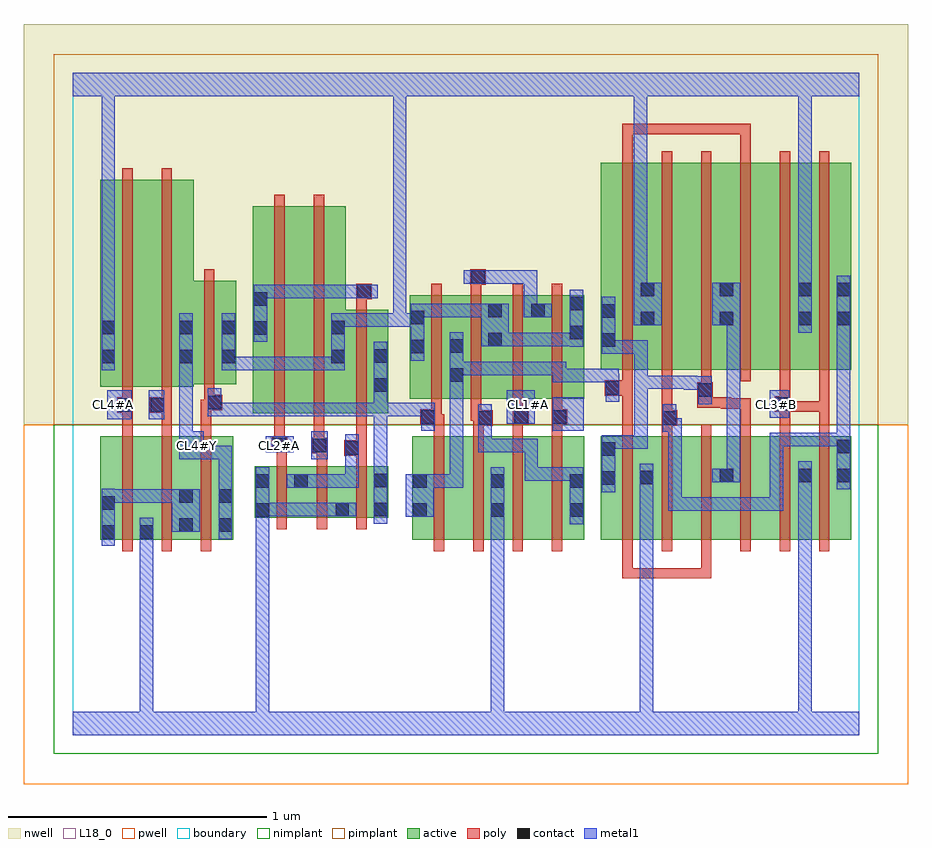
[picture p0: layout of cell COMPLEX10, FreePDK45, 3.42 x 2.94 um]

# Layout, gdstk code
import gdstk
lib = gdstk.Library(unit=1e-6, precision=1e-09)
def R(c, l, rs):  # rectangles x0, y0, x1, y1
    for r in rs: c.add(gdstk.rectangle(r[:2], r[2:], *l))
def A(c, l, x, y, w, h, nx, ny, dx, dy):  # array of equal rectangles
    R(c, l, [(x+i*dx, y+j*dy, x+i*dx+w, y+j*dy+h) for i in range(nx) for j in range(ny)])
active = (1, 0)
pwell = (2, 0)
nwell = (3, 0)
nimplant = (4, 0)
pimplant = (5, 0)
poly = (9, 0)
contact = (10, 0)
metal1 = (11, 0)
L18_0 = (18, 0)
boundary = (235, 0)

complex10 = lib.new_cell('COMPLEX10')
A(complex10, active, 2.192, 1.412, 0.06, 0.632, 3, 1, 0.304, 0)
R(complex10, active, [(0.108,0.756,0.168,1.156), (0.108,0.756,0.316,1.156), (0.256,0.756,0.468,1.156), (0.256,0.756,0.316,0.816), (0.408,0.756,0.468,0.956), (0.408,0.756,0.62,1.156), (0.56,0.756,0.62,1.156), (1.312,0.756,1.372,1.156), (1.312,0.756,1.492,1.156), (1.492,0.756,1.672,1.156), (1.612,0.756,1.796,1.156), (1.612,0.756,1.672,1.09), (1.796,0.756,1.976,1.156), (1.916,0.756,1.976,1.156), (2.04,0.756,2.1,1.156), (2.04,0.756,2.248,1.156), (2.188,0.756,2.372,1.156), (2.188,0.756,2.248,1.026), (2.372,0.756,2.556,1.156), (2.496,0.756,2.676,1.156), (2.496,0.756,2.556,1.034), (2.676,0.756,2.86,1.156), (2.8,0.756,3.008,1.156), (2.8,0.756,2.86,1.044), (2.948,0.756,3.008,1.156), (0.704,0.84,0.764,1.04), (0.704,0.84,0.912,1.04), (0.852,0.84,1.072,1.04), (1.012,0.84,1.22,1.04), (1.012,0.84,1.072,1.034), (1.16,0.84,1.22,1.04), (0.852,0.934,0.912,1.012), (0.696,1.244,0.876,2.044), (0.696,1.244,0.756,2.044), (0.876,1.244,1.056,2.044), (0.996,1.244,1.22,1.644), (1.16,1.244,1.22,1.644), (1.302,1.3,1.514,1.7), (1.302,1.3,1.362,1.69), (1.454,1.3,1.662,1.7), (1.454,1.3,1.514,1.644), (1.602,1.3,1.828,1.7), (1.768,1.3,1.976,1.7), (1.916,1.3,1.976,1.698), (1.602,1.33,1.662,1.674), (1.768,1.33,1.828,1.698), (0.108,1.346,0.288,2.146), (0.108,1.346,0.168,2.044), (0.288,1.346,0.468,2.146), (0.996,1.348,1.056,1.696), (0.408,1.356,0.468,1.746), (0.408,1.356,0.632,1.756), (0.572,1.356,0.632,1.756), (2.04,1.412,2.1,2.044), (2.04,1.412,2.252,2.212), (2.192,1.412,2.372,2.212), (2.372,1.412,2.556,2.212), (2.496,1.412,2.676,2.212), (2.676,1.412,2.86,2.212), (2.8,1.412,3.008,2.212), (2.948,1.412,3.008,2.044)])
R(complex10, pwell, [(-0.188,-0.188,3.228,1.2)])
R(complex10, nwell, [(-0.188,1.2,3.228,2.748)])
R(complex10, nimplant, [(-0.072,-0.072,3.112,1.2)])
R(complex10, pimplant, [(-0.072,1.2,3.112,2.632)])
A(complex10, poly, 0.192, 0.712, 0.04, 0.488, 3, 1, 0.152, 0)
A(complex10, poly, 1.396, 0.712, 0.04, 0.488, 4, 1, 0.152, 0)
A(complex10, poly, 2.124, 0.712, 0.04, 0.488, 6, 1, 0.152, 0)
A(complex10, poly, 2.124, 1.368, 0.04, 0.888, 6, 1, 0.152, 0)
R(complex10, poly, [(2.124,0.606,2.164,0.646), (2.124,0.606,2.164,0.646), (2.124,0.606,2.164,0.646), (2.124,0.606,2.164,0.752), (2.124,0.606,2.348,0.646), (2.308,0.606,2.348,0.646), (2.308,0.606,2.348,0.646), (2.308,0.606,2.348,0.646), (2.308,0.606,2.468,0.646), (2.428,0.606,2.468,0.646), (2.428,0.606,2.468,0.752), (0.788,0.796,0.828,1.084), (0.944,0.796,0.984,1.084), (1.096,0.796,1.136,1.084), (0.788,1.044,0.828,1.134), (0.944,1.044,0.984,1.13), (1.096,1.044,1.136,1.12), (1.05,1.08,1.136,1.14), (0.924,1.09,0.984,1.15), (0.77,1.094,0.83,1.154), (1.096,1.1,1.136,1.14), (1.096,1.1,1.136,1.14), (1.096,1.1,1.136,1.24), (0.932,1.11,0.972,1.15), (0.932,1.11,0.972,1.15), (0.932,1.11,0.972,1.24), (0.78,1.114,0.82,1.154), (0.78,1.114,0.82,1.154), (0.78,1.114,0.82,1.24), (0.192,1.16,0.232,1.286), (0.344,1.16,0.384,1.286), (0.496,1.16,0.536,1.296), (1.396,1.16,1.436,1.24), (1.548,1.16,1.588,1.236), (1.7,1.16,1.74,1.24), (1.852,1.16,1.892,1.24), (2.124,1.16,2.164,1.352), (2.276,1.16,2.316,1.236), (2.58,1.16,2.62,1.302), (2.732,1.16,2.772,1.29), (2.884,1.16,2.924,1.29), (1.548,1.196,1.624,1.256), (2.276,1.196,2.336,1.256), (0.78,1.2,0.82,2.088), (0.932,1.2,0.972,2.088), (1.096,1.2,1.136,1.688), (1.344,1.2,1.426,1.26), (1.386,1.2,1.426,1.24), (1.386,1.2,1.436,1.24), (1.7,1.2,1.74,1.24), (1.7,1.2,1.74,1.24), (1.7,1.2,1.762,1.26), (1.852,1.2,1.912,1.26), (1.538,1.216,1.578,1.296), (1.538,1.216,1.588,1.256), (1.548,1.216,1.588,1.256), (2.276,1.216,2.316,1.256), (2.276,1.216,2.316,1.256), (2.276,1.216,2.316,1.408), (1.386,1.22,1.426,1.296), (1.7,1.22,1.74,1.296), (1.852,1.22,1.892,1.26), (1.852,1.22,1.892,1.26), (1.852,1.22,1.892,1.296), (0.172,1.246,0.232,1.306), (0.298,1.246,0.384,1.306), (2.712,1.25,2.772,1.31), (2.732,1.25,2.772,1.29), (2.732,1.25,2.772,1.29), (2.732,1.25,2.924,1.29), (2.884,1.25,2.924,1.408), (2.884,1.25,2.924,1.29), (2.884,1.25,2.924,1.29), (2.884,1.25,2.924,1.29), (2.884,1.25,2.924,1.29), (2.884,1.25,2.924,1.29), (0.496,1.256,0.548,1.296), (0.508,1.256,0.548,1.296), (0.508,1.256,0.578,1.316), (1.386,1.256,1.426,1.744), (1.538,1.256,1.578,1.744), (1.7,1.256,1.74,1.744), (1.852,1.256,1.892,1.744), (2.504,1.262,2.62,1.302), (2.504,1.262,2.544,1.306), (2.58,1.262,2.62,1.302), (2.58,1.262,2.62,1.302), (2.58,1.262,2.62,1.302), (0.192,1.266,0.232,1.306), (0.192,1.266,0.232,1.306), (0.192,1.266,0.232,1.342), (0.344,1.266,0.384,1.306), (0.344,1.266,0.384,1.306), (0.344,1.266,0.384,1.342), (2.414,1.266,2.474,1.364), (2.434,1.266,2.544,1.306), (2.732,1.27,2.772,1.408), (0.508,1.276,0.548,1.352), (0.192,1.302,0.232,2.19), (0.344,1.302,0.384,2.19), (0.508,1.312,0.548,1.8), (2.056,1.312,2.164,1.372), (2.124,1.312,2.164,1.352), (2.124,1.312,2.164,1.352), (2.428,1.324,2.468,1.408), (2.124,1.332,2.164,1.408), (1.096,1.648,1.136,1.724), (1.096,1.684,1.156,1.744), (1.538,1.704,1.578,1.78), (1.536,1.74,1.596,1.8), (2.124,2.216,2.164,2.362), (2.58,2.216,2.62,2.362), (2.124,2.322,2.164,2.362), (2.124,2.322,2.164,2.362), (2.124,2.322,2.164,2.362), (2.124,2.322,2.348,2.362), (2.308,2.322,2.348,2.362), (2.308,2.322,2.348,2.362), (2.308,2.322,2.348,2.362), (2.308,2.322,2.514,2.362), (2.474,2.322,2.514,2.362), (2.474,2.322,2.62,2.362), (2.58,2.322,2.62,2.362), (2.58,2.322,2.62,2.362), (2.58,2.322,2.62,2.362)])
A(complex10, contact, 2.196, 1.584, 0.052, 0.052, 3, 2, 0.304, 0.112)
R(complex10, contact, [(0.112,0.76,0.164,0.812), (0.26,0.76,0.312,0.812), (0.412,0.786,0.464,0.838), (0.564,0.786,0.616,0.838), (0.708,0.844,0.76,0.896), (1.316,0.844,1.368,0.896), (1.616,0.844,1.668,0.896), (1.92,0.844,1.972,0.896), (1.016,0.846,1.068,0.898), (1.164,0.846,1.216,0.898), (0.112,0.872,0.164,0.924), (0.412,0.898,0.464,0.95), (0.564,0.898,0.616,0.95), (0.708,0.956,0.76,1.008), (0.856,0.956,0.908,1.008), (1.316,0.956,1.368,1.008), (1.616,0.956,1.668,1.008), (1.92,0.956,1.972,1.008), (1.164,0.958,1.216,1.01), (2.044,0.968,2.096,1.02), (2.192,0.97,2.244,1.022), (2.5,0.978,2.552,1.03), (2.804,0.978,2.856,1.03), (2.952,0.978,3.004,1.03), (2.044,1.08,2.096,1.132), (1.054,1.084,1.106,1.136), (2.952,1.09,3.004,1.142), (0.928,1.094,0.98,1.146), (0.774,1.098,0.826,1.15), (1.568,1.2,1.62,1.252), (2.28,1.2,2.332,1.252), (1.348,1.204,1.4,1.256), (1.706,1.204,1.758,1.256), (1.856,1.204,1.908,1.256), (0.176,1.25,0.228,1.302), (0.302,1.25,0.354,1.302), (2.716,1.254,2.768,1.306), (0.522,1.26,0.574,1.312), (2.418,1.308,2.47,1.36), (2.06,1.316,2.112,1.368), (1.164,1.328,1.216,1.38), (1.458,1.366,1.51,1.418), (0.112,1.438,0.164,1.49), (0.412,1.438,0.464,1.49), (0.576,1.438,0.628,1.49), (1,1.438,1.052,1.49), (1.164,1.44,1.216,1.492), (1.306,1.476,1.358,1.528), (1.458,1.478,1.51,1.53), (2.044,1.502,2.096,1.554), (1.606,1.504,1.658,1.556), (1.92,1.53,1.972,1.582), (0.7,1.548,0.752,1.6), (0.112,1.55,0.164,1.602), (0.412,1.55,0.464,1.602), (0.576,1.55,0.628,1.602), (1,1.55,1.052,1.602), (2.952,1.584,3.004,1.636), (1.306,1.588,1.358,1.64), (2.044,1.614,2.096,1.666), (1.606,1.616,1.658,1.668), (1.772,1.616,1.824,1.668), (1.92,1.642,1.972,1.694), (0.7,1.66,0.752,1.712), (1.1,1.688,1.152,1.74), (2.952,1.696,3.004,1.748), (1.54,1.744,1.592,1.796)])
A(complex10, metal1, 2.474, 0.868, 0.052, 0.052, 3, 1, 0.11, 0)
R(complex10, metal1, [(0,0,3.04,0.092), (0.26,0.04,0.312,0.092), (0.26,0.04,0.312,0.092), (0.26,0.04,0.312,0.092), (0.26,0.04,0.312,0.092), (0.26,0.04,0.312,0.092), (0.26,0.04,0.312,0.092), (0.26,0.04,0.312,0.092), (0.26,0.04,0.312,0.092), (0.26,0.04,0.312,0.092), (0.26,0.04,0.312,0.092), (0.26,0.04,0.312,0.092), (0.26,0.04,0.312,0.092), (0.26,0.04,0.312,0.784), (0.708,0.04,0.76,0.092), (0.708,0.04,0.76,0.092), (0.708,0.04,0.76,0.092), (0.708,0.04,0.76,0.092), (0.708,0.04,0.76,0.092), (0.708,0.04,0.76,0.092), (0.708,0.04,0.76,0.092), (0.708,0.04,0.76,0.092), (0.708,0.04,0.76,0.092), (0.708,0.04,0.76,0.092), (0.708,0.04,0.76,0.092), (0.708,0.04,0.76,0.092), (0.708,0.04,0.76,0.092), (0.708,0.04,0.76,0.092), (0.708,0.04,0.76,0.092), (0.708,0.04,0.76,0.092), (0.708,0.04,0.76,0.868), (1.616,0.04,1.668,0.092), (1.616,0.04,1.668,0.092), (1.616,0.04,1.668,0.092), (1.616,0.04,1.668,0.092), (1.616,0.04,1.668,0.092), (1.616,0.04,1.668,0.092), (1.616,0.04,1.668,0.092), (1.616,0.04,1.668,0.092), (1.616,0.04,1.668,0.092), (1.616,0.04,1.668,0.092), (1.616,0.04,1.668,0.092), (1.616,0.04,1.668,0.092), (1.616,0.04,1.668,0.868), (2.192,0.04,2.244,0.092), (2.192,0.04,2.244,0.092), (2.192,0.04,2.244,0.092), (2.192,0.04,2.244,0.092), (2.192,0.04,2.244,0.092), (2.192,0.04,2.244,0.092), (2.192,0.04,2.244,0.092), (2.192,0.04,2.244,0.092), (2.192,0.04,2.244,0.994), (2.804,0.04,2.856,0.092), (2.804,0.04,2.856,0.092), (2.804,0.04,2.856,0.092), (2.804,0.04,2.856,0.092), (2.804,0.04,2.856,0.092), (2.804,0.04,2.856,0.092), (2.804,0.04,2.856,0.092), (2.804,0.04,2.856,0.092), (2.804,0.04,2.856,0.092), (2.804,0.04,2.856,0.092), (2.804,0.04,2.856,1.002), (0.112,0.732,0.164,0.952), (0.26,0.732,0.312,0.84), (0.564,0.758,0.616,0.978), (0.384,0.786,0.492,0.95), (0.708,0.816,0.76,1.036), (1.616,0.816,1.668,1.036), (1.92,0.816,1.972,1.036), (1.164,0.818,1.216,1.038), (1.288,0.844,1.396,1.008), (0.708,0.846,0.76,0.898), (0.708,0.846,0.76,0.898), (0.708,0.846,0.924,0.898), (0.872,0.846,0.924,0.898), (0.872,0.846,0.924,0.898), (0.872,0.846,0.924,0.898), (0.872,0.846,1.04,0.898), (0.988,0.846,1.096,0.898), (2.302,0.868,2.354,0.92), (2.302,0.868,2.526,0.92), (2.302,0.868,2.354,1.224), (2.474,0.868,2.526,0.92), (2.474,0.868,2.526,0.92), (2.474,0.868,2.636,0.92), (2.584,0.868,2.746,0.92), (2.694,0.868,2.746,1.168), (0.112,0.898,0.164,0.95), (0.112,0.898,0.164,0.95), (0.112,0.898,0.326,0.95), (0.274,0.898,0.326,0.95), (0.274,0.898,0.436,0.95), (0.384,0.898,0.436,0.95), (0.384,0.898,0.436,0.95), (0.564,0.926,0.616,1.118), (2.044,0.94,2.096,1.16), (2.192,0.942,2.244,0.994), (2.192,0.942,2.244,0.994), (2.192,0.942,2.244,0.994), (2.192,0.942,2.244,0.994), (2.192,0.942,2.244,1.05), (2.804,0.95,2.856,1.002), (2.804,0.95,2.856,1.002), (2.804,0.95,2.856,1.058), (2.952,0.95,3.004,1.17), (0.828,0.956,0.936,1.008), (0.884,0.956,0.936,1.008), (0.884,0.956,0.936,1.008), (0.884,0.956,1.106,1.008), (1.054,0.956,1.106,1.008), (1.054,0.956,1.106,1.108), (1.344,0.956,1.4,1.008), (1.348,0.956,1.4,1.008), (1.348,0.956,1.51,1.008), (1.458,0.956,1.51,1.008), (1.458,0.956,1.51,1.39), (2.472,0.978,2.58,1.03), (2.528,0.978,2.58,1.03), (2.528,0.978,2.58,1.03), (2.528,0.978,2.58,1.03), (2.528,0.978,2.58,1.03), (2.528,0.978,2.58,1.636), (1.746,0.984,1.798,1.036), (1.746,0.984,1.972,1.036), (1.746,0.984,1.798,1.146), (1.92,0.984,1.972,1.036), (1.92,0.984,1.972,1.036), (1.164,0.986,1.216,1.284), (1.054,1.056,1.106,1.108), (1.054,1.056,1.106,1.108), (1.054,1.056,1.106,1.164), (0.412,1.066,0.506,1.174), (0.454,1.066,0.616,1.118), (0.564,1.066,0.616,1.118), (0.564,1.066,0.616,1.118), (0.564,1.066,0.616,1.118), (0.922,1.066,0.986,1.174), (0.746,1.094,0.854,1.156), (1.568,1.094,1.798,1.146), (1.568,1.094,1.62,1.224), (1.746,1.094,1.798,1.146), (1.746,1.094,1.798,1.146), (1.746,1.094,1.798,1.146), (2.044,1.108,2.096,1.16), (2.044,1.108,2.096,1.16), (2.044,1.108,2.222,1.16), (2.17,1.108,2.222,1.16), (2.17,1.108,2.222,1.16), (2.17,1.108,2.222,1.16), (2.17,1.108,2.222,1.39), (2.694,1.116,2.746,1.168), (2.694,1.116,2.746,1.168), (2.694,1.116,2.746,1.168), (2.694,1.116,2.856,1.168), (2.804,1.116,2.856,1.168), (2.804,1.116,3.004,1.168), (2.952,1.116,3.004,1.168), (2.952,1.116,3.004,1.168), (2.952,1.118,3.004,1.608), (2.952,1.118,3.004,1.17), (2.952,1.118,3.004,1.17), (2.952,1.118,3.004,1.17), (2.952,1.118,3.004,1.17), (0.412,1.122,0.464,1.462), (1.568,1.172,1.62,1.224), (1.568,1.172,1.62,1.28), (2.28,1.172,2.332,1.28), (2.28,1.172,2.354,1.224), (2.302,1.172,2.354,1.224), (2.302,1.172,2.354,1.224), (2.302,1.172,2.354,1.224), (1.348,1.176,1.4,1.284), (1.856,1.176,1.974,1.306), (1.678,1.204,1.786,1.334), (0.134,1.222,0.228,1.334), (0.294,1.222,0.354,1.334), (2.694,1.226,2.768,1.334), (0.522,1.232,0.574,1.34), (0.522,1.232,0.64,1.284), (0.588,1.232,0.64,1.284), (0.588,1.232,0.75,1.284), (0.698,1.232,0.75,1.284), (0.698,1.232,0.75,1.284), (0.698,1.232,0.75,1.284), (0.698,1.232,0.93,1.284), (0.878,1.232,0.93,1.284), (0.878,1.232,0.93,1.284), (0.878,1.232,0.93,1.284), (0.878,1.232,1.106,1.284), (1.054,1.232,1.106,1.284), (1.054,1.232,1.106,1.284), (1.054,1.232,1.106,1.284), (1.054,1.232,1.216,1.284), (1.164,1.232,1.216,1.284), (1.164,1.232,1.216,1.284), (1.164,1.232,1.216,1.284), (1.164,1.232,1.4,1.284), (1.164,1.232,1.216,1.352), (1.348,1.232,1.4,1.284), (1.348,1.232,1.4,1.284), (2.418,1.28,2.47,1.388), (2.06,1.288,2.112,1.396), (1.164,1.3,1.216,1.52), (2.362,1.336,2.47,1.388), (2.362,1.336,2.414,1.39), (1.458,1.338,1.51,1.558), (1.458,1.338,1.51,1.39), (1.458,1.338,1.51,1.39), (1.458,1.338,1.51,1.39), (1.458,1.338,1.51,1.39), (2.17,1.338,2.222,1.39), (2.17,1.338,2.222,1.39), (2.17,1.338,2.222,1.39), (2.17,1.338,2.414,1.39), (2.17,1.338,2.222,1.526), (2.058,1.344,2.112,1.396), (2.058,1.344,2.11,1.416), (1.856,1.364,1.908,1.416), (1.856,1.364,2.11,1.416), (1.856,1.364,1.908,1.444), (1.458,1.392,1.51,1.444), (1.458,1.392,1.51,1.444), (1.458,1.392,1.686,1.444), (1.634,1.392,1.686,1.444), (1.634,1.392,1.798,1.444), (1.746,1.392,1.798,1.444), (1.746,1.392,1.798,1.444), (1.746,1.392,1.798,1.444), (1.746,1.392,1.908,1.444), (1.856,1.392,1.908,1.444), (1.856,1.392,1.908,1.444), (1.856,1.392,1.908,1.444), (0.112,1.41,0.164,1.63), (0.412,1.41,0.464,1.63), (0.412,1.41,0.464,1.462), (0.412,1.41,0.464,1.462), (0.576,1.41,0.628,1.63), (0.576,1.41,0.77,1.462), (0.718,1.41,0.77,1.462), (0.718,1.41,0.77,1.462), (0.718,1.41,0.77,1.462), (0.718,1.41,0.88,1.462), (0.828,1.41,0.88,1.462), (0.828,1.41,0.88,1.462), (0.828,1.41,0.88,1.462), (0.828,1.41,1.052,1.462), (1,1.41,1.052,1.63), (1,1.41,1.052,1.462), (1,1.41,1.052,1.462), (1,1.41,1.052,1.462), (1,1.41,1.052,1.462), (1,1.41,1.052,1.462), (1,1.41,1.052,1.462), (1.306,1.448,1.358,1.668), (2.044,1.474,2.096,1.694), (2.044,1.474,2.096,1.526), (2.044,1.474,2.096,1.526), (2.044,1.474,2.222,1.526), (2.17,1.474,2.222,1.526), (1.92,1.502,1.972,1.722), (1.578,1.504,1.686,1.668), (1.634,1.504,1.686,1.556), (1.634,1.504,1.686,1.556), (1.634,1.504,1.798,1.556), (1.746,1.504,1.798,1.556), (1.746,1.504,1.798,1.556), (1.746,1.504,1.798,1.556), (1.746,1.504,1.972,1.556), (1.92,1.504,1.972,1.556), (1.92,1.504,1.972,1.556), (0.7,1.52,0.752,1.74), (2.804,1.556,2.856,1.776), (2.952,1.556,3.004,1.776), (0.112,1.578,0.164,2.52), (1,1.578,1.104,1.63), (1.052,1.578,1.104,1.63), (1.052,1.578,1.29,1.63), (1.238,1.578,1.29,1.63), (1.238,1.578,1.358,1.63), (1.238,1.578,1.29,2.52), (2.168,1.584,2.276,1.748), (2.472,1.584,2.58,1.748), (1.306,1.616,1.4,1.668), (1.348,1.616,1.4,1.668), (1.348,1.616,1.51,1.668), (1.458,1.616,1.51,1.668), (1.458,1.616,1.51,1.668), (1.458,1.616,1.51,1.668), (1.458,1.616,1.63,1.668), (1.744,1.616,1.852,1.668), (1.744,1.616,1.796,1.796), (0.7,1.688,0.752,1.74), (0.7,1.688,0.752,1.74), (0.7,1.688,0.916,1.74), (0.864,1.688,0.916,1.74), (0.864,1.688,0.916,1.74), (0.864,1.688,0.916,1.74), (0.864,1.688,1.046,1.74), (0.994,1.688,1.046,1.74), (0.994,1.688,1.124,1.74), (1.072,1.688,1.18,1.74), (2.168,1.696,2.22,2.52), (2.804,1.724,2.856,1.776), (2.804,1.724,2.856,1.776), (2.804,1.724,2.856,2.52), (1.512,1.744,1.62,1.796), (1.568,1.744,1.62,1.796), (1.568,1.744,1.62,1.796), (1.568,1.744,1.796,1.796), (1.744,1.744,1.796,1.796), (1.744,1.744,1.796,1.796), (1.744,1.744,1.796,1.796), (0,2.468,3.04,2.56), (0.112,2.468,0.164,2.52), (0.112,2.468,0.164,2.52), (0.112,2.468,0.164,2.52), (0.112,2.468,0.164,2.52), (0.112,2.468,0.164,2.52), (0.112,2.468,0.164,2.52), (0.112,2.468,0.164,2.52), (0.112,2.468,0.164,2.52), (1.238,2.468,1.29,2.52), (1.238,2.468,1.29,2.52), (1.238,2.468,1.29,2.52), (1.238,2.468,1.29,2.52), (1.238,2.468,1.29,2.52), (1.238,2.468,1.29,2.52), (1.238,2.468,1.29,2.52), (1.238,2.468,1.29,2.52), (1.238,2.468,1.29,2.52), (1.238,2.468,1.29,2.52), (1.238,2.468,1.29,2.52), (1.238,2.468,1.29,2.52), (1.238,2.468,1.29,2.52), (1.238,2.468,1.29,2.52), (1.238,2.468,1.29,2.52), (1.238,2.468,1.29,2.52), (2.168,2.468,2.22,2.52), (2.168,2.468,2.22,2.52), (2.168,2.468,2.22,2.52), (2.168,2.468,2.22,2.52), (2.168,2.468,2.22,2.52), (2.168,2.468,2.22,2.52), (2.168,2.468,2.22,2.52), (2.168,2.468,2.22,2.52), (2.804,2.468,2.856,2.52), (2.804,2.468,2.856,2.52), (2.804,2.468,2.856,2.52), (2.804,2.468,2.856,2.52), (2.804,2.468,2.856,2.52), (2.804,2.468,2.856,2.52)])
R(complex10, L18_0, [(0,0,3.04,0.092), (0.26,0.04,0.312,0.092), (0.26,0.04,0.312,0.092), (0.26,0.04,0.312,0.092), (0.26,0.04,0.312,0.092), (0.26,0.04,0.312,0.092), (0.26,0.04,0.312,0.092), (0.26,0.04,0.312,0.092), (0.26,0.04,0.312,0.092), (0.26,0.04,0.312,0.092), (0.26,0.04,0.312,0.092), (0.26,0.04,0.312,0.092), (0.26,0.04,0.312,0.092), (0.26,0.04,0.312,0.784), (0.708,0.04,0.76,0.092), (0.708,0.04,0.76,0.092), (0.708,0.04,0.76,0.092), (0.708,0.04,0.76,0.092), (0.708,0.04,0.76,0.092), (0.708,0.04,0.76,0.092), (0.708,0.04,0.76,0.092), (0.708,0.04,0.76,0.092), (0.708,0.04,0.76,0.092), (0.708,0.04,0.76,0.092), (0.708,0.04,0.76,0.092), (0.708,0.04,0.76,0.092), (0.708,0.04,0.76,0.092), (0.708,0.04,0.76,0.092), (0.708,0.04,0.76,0.092), (0.708,0.04,0.76,0.092), (0.708,0.04,0.76,0.868), (1.616,0.04,1.668,0.092), (1.616,0.04,1.668,0.092), (1.616,0.04,1.668,0.092), (1.616,0.04,1.668,0.092), (1.616,0.04,1.668,0.092), (1.616,0.04,1.668,0.092), (1.616,0.04,1.668,0.092), (1.616,0.04,1.668,0.092), (1.616,0.04,1.668,0.092), (1.616,0.04,1.668,0.092), (1.616,0.04,1.668,0.092), (1.616,0.04,1.668,0.092), (1.616,0.04,1.668,0.868), (2.192,0.04,2.244,0.092), (2.192,0.04,2.244,0.092), (2.192,0.04,2.244,0.092), (2.192,0.04,2.244,0.092), (2.192,0.04,2.244,0.092), (2.192,0.04,2.244,0.092), (2.192,0.04,2.244,0.092), (2.192,0.04,2.244,0.092), (2.192,0.04,2.244,0.994), (2.804,0.04,2.856,0.092), (2.804,0.04,2.856,0.092), (2.804,0.04,2.856,0.092), (2.804,0.04,2.856,0.092), (2.804,0.04,2.856,0.092), (2.804,0.04,2.856,0.092), (2.804,0.04,2.856,0.092), (2.804,0.04,2.856,0.092), (2.804,0.04,2.856,0.092), (2.804,0.04,2.856,0.092), (2.804,0.04,2.856,1.002), (0.26,0.732,0.312,0.84), (0.564,0.758,0.616,0.978), (0.708,0.816,0.76,1.036), (1.616,0.816,1.668,1.036), (0.708,0.846,0.76,0.898), (0.708,0.846,0.76,0.898), (0.708,0.846,0.924,0.898), (0.872,0.846,0.924,0.898), (0.872,0.846,0.924,0.898), (0.872,0.846,0.924,0.898), (0.872,0.846,1.04,0.898), (0.988,0.846,1.096,0.898), (0.564,0.926,0.616,1.118), (2.192,0.942,2.244,0.994), (2.192,0.942,2.244,0.994), (2.192,0.942,2.244,0.994), (2.192,0.942,2.244,0.994), (2.192,0.942,2.244,1.05), (2.804,0.95,2.856,1.002), (2.804,0.95,2.856,1.002), (2.804,0.95,2.856,1.058), (0.412,1.066,0.506,1.174), (0.454,1.066,0.616,1.118), (0.564,1.066,0.616,1.118), (0.564,1.066,0.616,1.118), (0.564,1.066,0.616,1.118), (0.922,1.066,0.986,1.174), (0.454,1.094,0.506,1.146), (0.746,1.094,0.854,1.156), (0.774,1.094,0.826,1.146), (0.934,1.094,0.986,1.146), (0.412,1.122,0.464,1.462), (1.856,1.176,1.974,1.306), (1.678,1.204,1.786,1.334), (0.134,1.222,0.228,1.334), (0.294,1.222,0.354,1.334), (2.694,1.226,2.768,1.334), (0.134,1.254,0.186,1.306), (0.294,1.254,0.346,1.306), (1.734,1.254,1.786,1.306), (1.894,1.254,1.946,1.306), (2.694,1.254,2.746,1.306), (0.112,1.41,0.164,1.63), (0.412,1.41,0.464,1.63), (0.412,1.41,0.464,1.462), (0.412,1.41,0.464,1.462), (0.576,1.41,0.628,1.63), (0.576,1.41,0.77,1.462), (0.718,1.41,0.77,1.462), (0.718,1.41,0.77,1.462), (0.718,1.41,0.77,1.462), (0.718,1.41,0.88,1.462), (0.828,1.41,0.88,1.462), (0.828,1.41,0.88,1.462), (0.828,1.41,0.88,1.462), (0.828,1.41,1.052,1.462), (1,1.41,1.052,1.63), (1,1.41,1.052,1.462), (1,1.41,1.052,1.462), (1,1.41,1.052,1.462), (1,1.41,1.052,1.462), (1,1.41,1.052,1.462), (1,1.41,1.052,1.462), (1.306,1.448,1.358,1.668), (1.92,1.502,1.972,1.722), (1.578,1.504,1.686,1.668), (1.634,1.504,1.686,1.556), (1.634,1.504,1.686,1.556), (1.634,1.504,1.798,1.556), (1.746,1.504,1.798,1.556), (1.746,1.504,1.798,1.556), (1.746,1.504,1.798,1.556), (1.746,1.504,1.972,1.556), (1.92,1.504,1.972,1.556), (1.92,1.504,1.972,1.556), (2.804,1.556,2.856,1.776), (0.112,1.578,0.164,2.52), (1,1.578,1.104,1.63), (1.052,1.578,1.104,1.63), (1.052,1.578,1.29,1.63), (1.238,1.578,1.29,1.63), (1.238,1.578,1.29,2.52), (1.238,1.578,1.358,1.63), (2.168,1.584,2.276,1.748), (1.306,1.616,1.4,1.668), (1.348,1.616,1.4,1.668), (1.348,1.616,1.51,1.668), (1.458,1.616,1.51,1.668), (1.458,1.616,1.51,1.668), (1.458,1.616,1.51,1.668), (1.458,1.616,1.63,1.668), (2.168,1.696,2.22,2.52), (2.804,1.724,2.856,1.776), (2.804,1.724,2.856,1.776), (2.804,1.724,2.856,2.52), (0,2.468,3.04,2.56), (0.112,2.468,0.164,2.52), (0.112,2.468,0.164,2.52), (0.112,2.468,0.164,2.52), (0.112,2.468,0.164,2.52), (0.112,2.468,0.164,2.52), (0.112,2.468,0.164,2.52), (0.112,2.468,0.164,2.52), (0.112,2.468,0.164,2.52), (1.238,2.468,1.29,2.52), (1.238,2.468,1.29,2.52), (1.238,2.468,1.29,2.52), (1.238,2.468,1.29,2.52), (1.238,2.468,1.29,2.52), (1.238,2.468,1.29,2.52), (1.238,2.468,1.29,2.52), (1.238,2.468,1.29,2.52), (1.238,2.468,1.29,2.52), (1.238,2.468,1.29,2.52), (1.238,2.468,1.29,2.52), (1.238,2.468,1.29,2.52), (1.238,2.468,1.29,2.52), (1.238,2.468,1.29,2.52), (1.238,2.468,1.29,2.52), (1.238,2.468,1.29,2.52), (2.168,2.468,2.22,2.52), (2.168,2.468,2.22,2.52), (2.168,2.468,2.22,2.52), (2.168,2.468,2.22,2.52), (2.168,2.468,2.22,2.52), (2.168,2.468,2.22,2.52), (2.168,2.468,2.22,2.52), (2.168,2.468,2.22,2.52), (2.804,2.468,2.856,2.52), (2.804,2.468,2.856,2.52), (2.804,2.468,2.856,2.52), (2.804,2.468,2.856,2.52), (2.804,2.468,2.856,2.52), (2.804,2.468,2.856,2.52)])
R(complex10, boundary, [(0,0,3.04,2.56)])
complex10.add(gdstk.Label('CL1#A', (1.76,1.28), layer=11, texttype=0))
complex10.add(gdstk.Label('CL1#B', (1.92,1.28), layer=11, texttype=0))
complex10.add(gdstk.Label('CL2#A', (0.8,1.12), layer=11, texttype=0))
complex10.add(gdstk.Label('CL2#B', (0.96,1.12), layer=11, texttype=0))
complex10.add(gdstk.Label('CL3#B', (2.72,1.28), layer=11, texttype=0))
complex10.add(gdstk.Label('CL4#A', (0.16,1.28), layer=11, texttype=0))
complex10.add(gdstk.Label('CL4#B', (0.32,1.28), layer=11, texttype=0))
complex10.add(gdstk.Label('CL4#Y', (0.48,1.12), layer=11, texttype=0))

lib.write_gds('COMPLEX10.gds')
